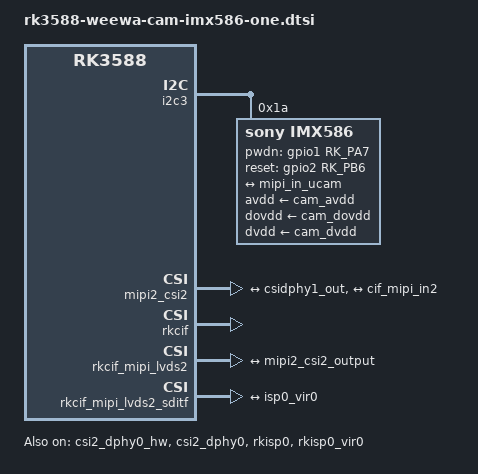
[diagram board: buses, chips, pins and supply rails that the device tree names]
// SPDX-License-Identifier: (GPL-2.0+ OR MIT)
/*
 * Copyright (c) 2021 Rockchip Electronics Co., Ltd.
 *
 */
 
&csi2_dphy0_hw {
	status = "okay";
};

&csi2_dphy0 {
	status = "okay";

	ports {
		#address-cells = <1>;
		#size-cells = <0>;
		port@0 {
			reg = <0>;
			#address-cells = <1>;
			#size-cells = <0>;

			mipi_in_ucam: endpoint@1 {
				reg = <1>;
				remote-endpoint = <&imx586_out>;
				data-lanes = <1 2 3 4>;
			};
		};
		port@1 {
			reg = <1>;
			#address-cells = <1>;
			#size-cells = <0>;

			csidphy1_out: endpoint@0 {
				reg = <0>;
				remote-endpoint = <&mipi2_csi2_input>;
			};
		};
	};
};

&i2c3 {
	
	status = "okay";
	pinctrl-names = "default";
    pinctrl-0 = <&i2c3m0_xfer>;	
	
	imx586: imx586@1a {
		compatible = "sony,imx586";
		status = "okay";
		reg = <0x1a>;
		clocks = <&cru CLK_MIPI_CAMARAOUT_M1>;
		clock-names = "xvclk";
		power-domains = <&power RK3588_PD_VI>;
		pwdn-gpios = <&gpio1 RK_PA7 GPIO_ACTIVE_HIGH>;
		reset-gpios = <&gpio2 RK_PB6 GPIO_ACTIVE_HIGH>;
		pinctrl-names = "rockchip,camera_default";
		pinctrl-0 = <&mipim0_camera1_clk>;
		avdd-supply = <&cam_avdd>;
		dovdd-supply = <&cam_dovdd>;
		dvdd-supply = <&cam_dvdd>;		
		rockchip,camera-module-index = <0>;
		rockchip,camera-module-facing = "back";
		rockchip,camera-module-name = "HS-DEFAULT-DEFAULT";
		rockchip,camera-module-lens-name = "DEFAULT";
		port {
			imx586_out: endpoint {
				remote-endpoint = <&mipi_in_ucam>;
				data-lanes = <1 2 3 4>;
			};
		};
	};
};

&mipi2_csi2 {
	status = "okay";

	ports {
		#address-cells = <1>;
		#size-cells = <0>;

		port@0 {
			reg = <0>;
			#address-cells = <1>;
			#size-cells = <0>;

			mipi2_csi2_input: endpoint@1 {
				reg = <1>;
				remote-endpoint = <&csidphy1_out>;
			};
		};

		port@1 {
			reg = <1>;
			#address-cells = <1>;
			#size-cells = <0>;

			mipi2_csi2_output: endpoint@0 {
				reg = <0>;
				remote-endpoint = <&cif_mipi_in2>;
			};
		};
	};
};

&rkcif {
	status = "okay";
};


&rkcif_mipi_lvds2 {
	status = "okay";
	rockchip,cif-monitor = <3 2 5 1000 5>;
	port {
		cif_mipi_in2: endpoint {
			remote-endpoint = <&mipi2_csi2_output>;
			data-lanes = <1 2 3 4>;
		};
	};
};

&rkcif_mipi_lvds2_sditf {
	status = "okay";

	port {
		mipi2_lvds_sditf: endpoint {
			remote-endpoint = <&isp0_vir0>;
		};
	};
};

&rkcif_mmu {
	status = "okay";
};

&rkisp0 {
	status = "okay";
};

&isp0_mmu {
	status = "okay";
};

&rkisp0_vir0 {
	status = "okay";

	port {
		#address-cells = <1>;
		#size-cells = <0>;

		isp0_vir0: endpoint@0 {
			reg = <0>;
			remote-endpoint = <&mipi2_lvds_sditf>;
		};
	};
};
